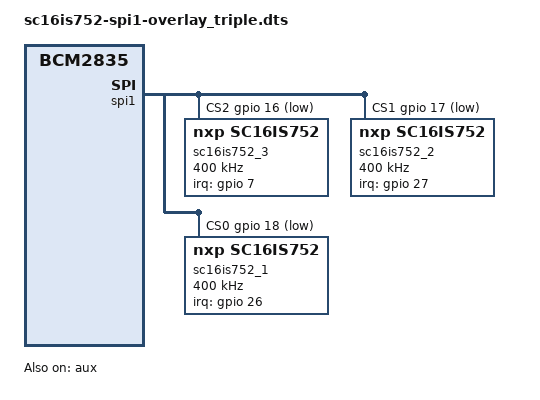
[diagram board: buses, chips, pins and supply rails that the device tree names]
/dts-v1/;
/plugin/;

/ {
	compatible = "brcm,bcm2835";

	fragment@0 {
		target = <&gpio>;
		__overlay__ {
			spi1_pins: spi1_pins {
				brcm,pins = <19 20 21>;
				brcm,function = <3>; /* alt4 */
			};

			spi1_cs_pins: spi1_cs_pins {
				brcm,pins = <18 17 16>;
				brcm,function = <1>; /* output */
			};
		};
	};

	fragment@1 {
		target = <&spi1>;
		__overlay__ {
			#address-cells = <1>;
			#size-cells = <0>;
			pinctrl-names = "default";
			pinctrl-0 = <&spi1_pins &spi1_cs_pins>;
			cs-gpios = <&gpio 18 1>, <&gpio 17 1>, <&gpio 16 1>;
			status = "okay";


			/* NOTE: Order is 3,2,1 because they load in reverse order apparently. */

			sc16is752_3: sc16is752@2 {
				compatible = "nxp,sc16is752";
				reg = <2>; /* CE2 */
				clocks = <&sc16is752_clk>;
				interrupt-parent = <&gpio>;
				interrupts = <7 2>; /* IRQ_TYPE_EDGE_FALLING */
				gpio-controller;
				#gpio-cells = <2>;
				spi-max-frequency = <400000>;
			};

			sc16is752_2: sc16is752@1 {
				compatible = "nxp,sc16is752";
				reg = <1>; /* CE1 */
				clocks = <&sc16is752_clk>;
				interrupt-parent = <&gpio>;
				interrupts = <27 2>; /* IRQ_TYPE_EDGE_FALLING */
				gpio-controller;
				#gpio-cells = <2>;
				spi-max-frequency = <400000>;
			};

			sc16is752_1: sc16is752@0 {
				compatible = "nxp,sc16is752";
				reg = <0>; /* CE0 */
				clocks = <&sc16is752_clk>;
				interrupt-parent = <&gpio>;
				interrupts = <26 2>; /* IRQ_TYPE_EDGE_FALLING */
				gpio-controller;
				#gpio-cells = <2>;
				spi-max-frequency = <400000>;
			};
		};
	};

	fragment@2 {
		target = <&aux>;
		__overlay__ {
			status = "okay";
		};
	};

	fragment@3 {
		target-path = "/";
		__overlay__ {
			sc16is752_clk: sc16is752_spi1_0_clk {
				compatible = "fixed-clock";
				#clock-cells = <0>;
				clock-frequency = <14745600>;
			};
		};
	};


};
